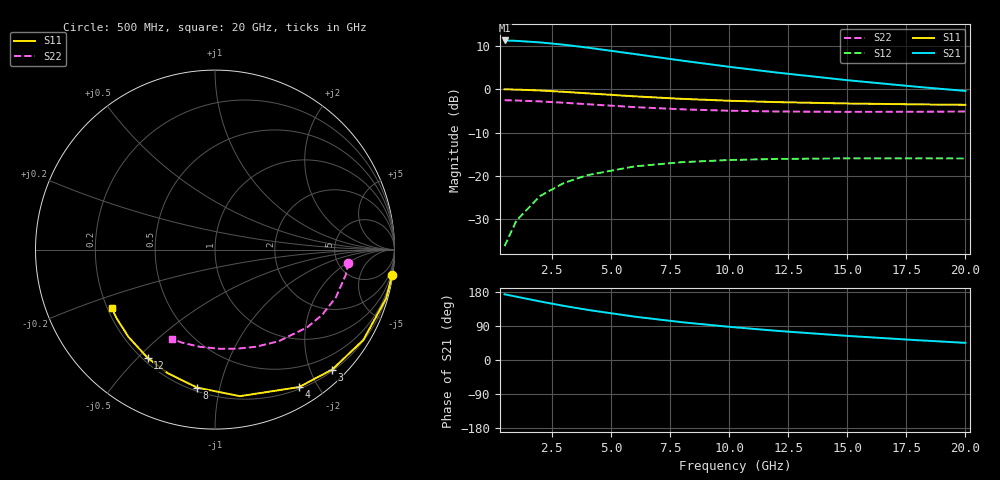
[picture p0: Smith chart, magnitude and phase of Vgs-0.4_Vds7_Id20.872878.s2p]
# Hz S RI R 50
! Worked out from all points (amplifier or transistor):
!   12 points, 500 MHz to 20 GHz, reference 50 ohm
!   highest |S21| = 11.3 dB at 500 MHz (marker M1)
!   |S21| within 3 dB of that: start of sweep to 5.818 GHz
!   unconditionally stable (mu >= 1): 17.71 GHz to end of sweep
!   at 2 GHz: K = 0.10, MSG = 17.7 dB, |S12| = -24.7 dB
!   at 8 GHz: K = 0.42, MSG = 11.7 dB, |S12| = -16.8 dB
!   at 20 GHz: K = 1.16, MAG = 5.4 dB, |S12| = -16.0 dB
!   S11 on the Smith chart (normalised r, x): 500 MHz: 0, -14; 3 GHz: 0.22, -2.36; 4 GHz: 0.22, -1.76; 8 GHz: 0.22, -0.85; 12 GHz: 0.22, -0.54; 20 GHz: 0.22, -0.25
5e8  0.988 -0.1395  -3.639 0.4166  0.00148 0.0153  0.7434 -0.072
1e9  0.953 -0.2732  -3.531 0.8148  0.0058 0.0299  0.7283 -0.1416
2e9  0.8263 -0.5037  -3.14 1.496  0.0214 0.0544  0.6735 -0.2659
3e9  0.6534 -0.6681  -2.61 1.971  0.0424 0.0707  0.5975 -0.363
4e9  0.4679 -0.766  -2.043 2.238  0.0648 0.0785  0.5137 -0.4328
6e9  0.1385 -0.8168  -1.055 2.325  0.1034 0.0764  0.3557 -0.5103
8e9  -0.1007 -0.7685  -0.3635 2.113  0.1295 0.0625  0.2254 -0.5417
1e10  -0.2636 -0.6884  0.0772 1.816  0.1452 0.0457  0.1193 -0.5524
1.2e10  -0.3747 -0.604  0.3489 1.522  0.1539 0.0294  0.0296 -0.5528
1.5e10  -0.4819 -0.4868  0.5652 1.141  0.159 0.00802  -0.0851 -0.5415
1.8e10  -0.5469 -0.3848  0.6535 0.8404  0.1589 -0.0092  -0.1829 -0.5187
2e10  -0.576 -0.3244  0.6733 0.6795  0.1574 -0.0188  -0.2405 -0.4981
